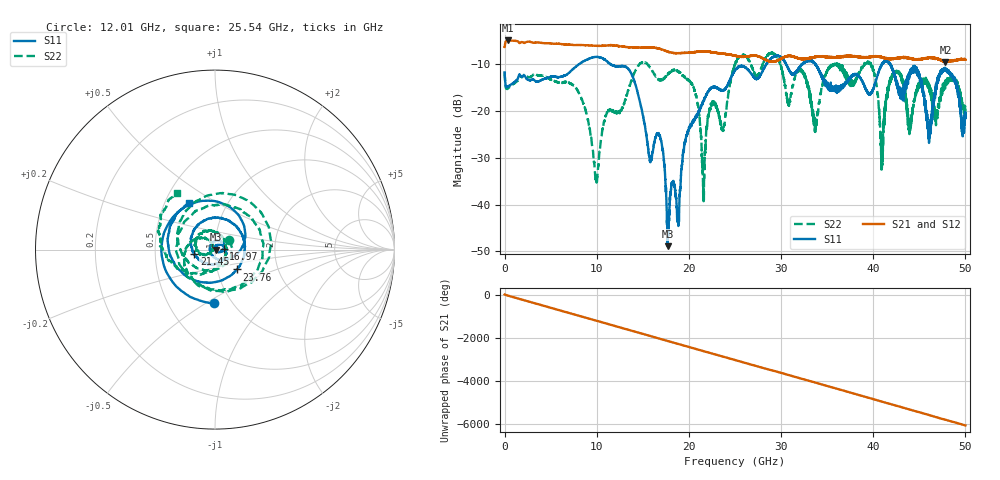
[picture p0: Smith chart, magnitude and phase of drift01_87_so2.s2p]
!Created with skrf (http://scikit-rf.org).
# Hz S RI R 50.0
!freq ReS11 ImS11 ReS21 ImS21 ReS12 ImS12 ReS22 ImS22
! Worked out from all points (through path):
!   10001 points, 300 kHz to 50 GHz, reference 50 ohm
!   highest |S21| = -5.05 dB at 325.3 MHz (marker M1); lowest = -9.6 dB at 47.84 GHz (marker M2)
!   group delay of S21, straight-line fit = 336 ps
!   lowest |S11| = -48.9 dB at 17.69 GHz (marker M3), VSWR 1.01, Z = 50.4 - j0.0797 ohm
!   |S11| at or under -10 dB: start of sweep to 8.164 GHz; 11.43 GHz to 28.42 GHz (16.99 GHz wide, 85.3 % of centre); 41.8 GHz to end of sweep (the widest 3 of 12)
!   |S22| runs from -39.3 to -7.7 dB; largest |S21 - S12| = 0.016
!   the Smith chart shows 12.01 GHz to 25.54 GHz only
!   S11 on the Smith chart (normalised r, x): 12.01 GHz: 0.83, -0.54; 16.97 GHz: 1.10, +0.01; 21.45 GHz: 0.79, -0.04; 23.76 GHz: 1.24, -0.28; 25.54 GHz: 0.66, +0.38
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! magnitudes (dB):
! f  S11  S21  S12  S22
! 300 kHz  -11.9  -6.5  -6.5  -11.8
! 325.3 MHz  -15.0  -5.1  -5.1  -15.4
! 8.335 GHz  -9.8  -6.0  -6.0  -17.5
! 9.945 GHz  -8.6  -6.2  -6.2  -34.7
! 12.01 GHz  -10.5  -6.1  -6.1  -20.5
! 16.67 GHz  -24.8  -6.7  -6.7  -13.3
! 16.97 GHz  -26.3  -6.9  -6.9  -13.4
! 17.69 GHz  -48.9  -7.4  -7.4  -12.3
! 20.5 GHz  -22.1  -7.6  -7.5  -15.0
! 21.45 GHz  -18.6  -7.4  -7.4  -31.3
! 22.47 GHz  -15.1  -7.5  -7.6  -18.9
! 23.76 GHz  -15.7  -7.9  -7.9  -23.7
! 25 GHz  -11.4  -8.3  -8.3  -10.3
! 25.54 GHz  -10.5  -8.5  -8.5  -8.4
! 33.34 GHz  -9.4  -8.7  -8.7  -19.2
! 39.49 GHz  -16.3  -8.6  -8.6  -9.9
! 40.95 GHz  -10.1  -8.6  -8.6  -29.3
! 41.67 GHz  -9.6  -8.8  -9.0  -15.0
! 44.75 GHz  -12.1  -9.1  -9.1  -15.6
! 46.1 GHz  -25.8  -8.7  -8.7  -15.4
! 47.84 GHz  -11.2  -9.6  -9.6  -14.5
! 50 GHz  -21.1  -9.2  -9.1  -20.3
